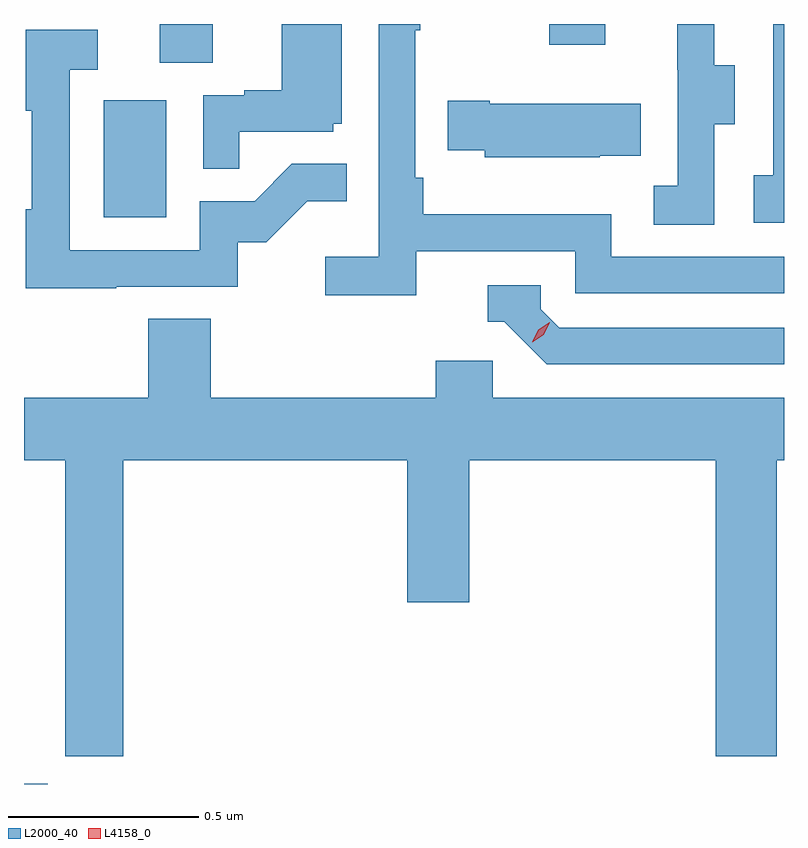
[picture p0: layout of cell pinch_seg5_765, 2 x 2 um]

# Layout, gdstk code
import gdstk
lib = gdstk.Library(unit=1e-6, precision=1e-09)
def R(c, l, rs):  # rectangles x0, y0, x1, y1
    for r in rs: c.add(gdstk.rectangle(r[:2], r[2:], *l))
def P(c, l, *ps):  # polygons
    for p in ps: c.add(gdstk.Polygon(p, *l))
L2000_40 = (2000, 40)
L4158_0 = (4158, 0)

pinch_seg5_765 = lib.new_cell('pinch_seg5_765')
R(pinch_seg5_765, L2000_40, [(823.34,913.184,823.402,913.185), (823.55,914.676,823.714,914.983), (823.697,915.082,823.837,915.184), (824.722,915.129,824.869,915.184)])
P(pinch_seg5_765, L2000_40, [(824.372,914.586),(824.79,914.586),(824.79,914.475),(825.34,914.475),(825.34,914.571),(824.886,914.571),(824.886,914.683),(824.39,914.683),(824.39,914.779),(824.37,914.779),(824.37,915.167),(824.383,915.167),(824.383,915.184),(824.274,915.184),(824.274,914.572),(824.133,914.572),(824.133,914.47),(824.372,914.47)],
  [(823.907,914.901),(824.154,914.901),(824.154,914.922),(824.176,914.922),(824.176,915.184),(824.018,915.184),(824.018,915.01),(823.919,915.01),(823.919,914.997),(823.812,914.997),(823.812,914.803),(823.907,914.803)],
  [(825.34,915.184),(825.312,915.184),(825.312,914.786),(825.261,914.786),(825.261,914.661),(825.34,914.661)],
  [(825.156,914.92),(825.211,914.92),(825.211,915.075),(825.157,915.075),(825.157,915.184),(825.059,915.184),(825.059,915.063),(825.06,915.063),(825.06,914.759),(824.997,914.759),(824.997,914.656),(825.156,914.656)],
  [(823.583,914.493),(823.902,914.493),(823.902,914.61),(823.978,914.61),(824.085,914.717),(824.189,914.717),(824.189,914.816),(824.045,914.816),(823.947,914.718),(823.803,914.718),(823.803,914.589),(823.461,914.589),(823.461,915.063),(823.534,915.063),(823.534,915.169),(823.345,915.169),(823.345,914.956),(823.36,914.956),(823.36,914.696),(823.345,914.696),(823.345,914.488),(823.583,914.488)],
  [(824.855,914.837),(824.963,914.837),(824.963,914.974),(824.566,914.974),(824.566,914.982),(824.455,914.982),(824.455,914.852),(824.553,914.852),(824.553,914.834),(824.855,914.834)],
  [(825.34,914.385),(824.748,914.385),(824.7,914.433),(824.7,914.496),(824.561,914.496),(824.561,914.4),(824.604,914.4),(824.715,914.289),(825.34,914.289)],
  [(823.601,914.036),(824.348,914.036),(824.348,913.662),(824.512,913.662),(824.512,914.036),(825.161,914.036),(825.161,913.257),(825.321,913.257),(825.321,914.036),(825.34,914.036),(825.34,914.2),(824.574,914.2),(824.574,914.298),(824.423,914.298),(824.423,914.2),(823.832,914.2),(823.832,914.408),(823.667,914.408),(823.667,914.2),(823.34,914.2),(823.34,914.036),(823.448,914.036),(823.448,913.257),(823.601,913.257)])
P(pinch_seg5_765, L4158_0, [(824.677,914.347),(824.677,914.347),(824.693,914.38),(824.724,914.399),(824.724,914.399),(824.724,914.398),(824.708,914.366),(824.677,914.347)])

lib.write_gds('pinch_seg5_765.gds')
